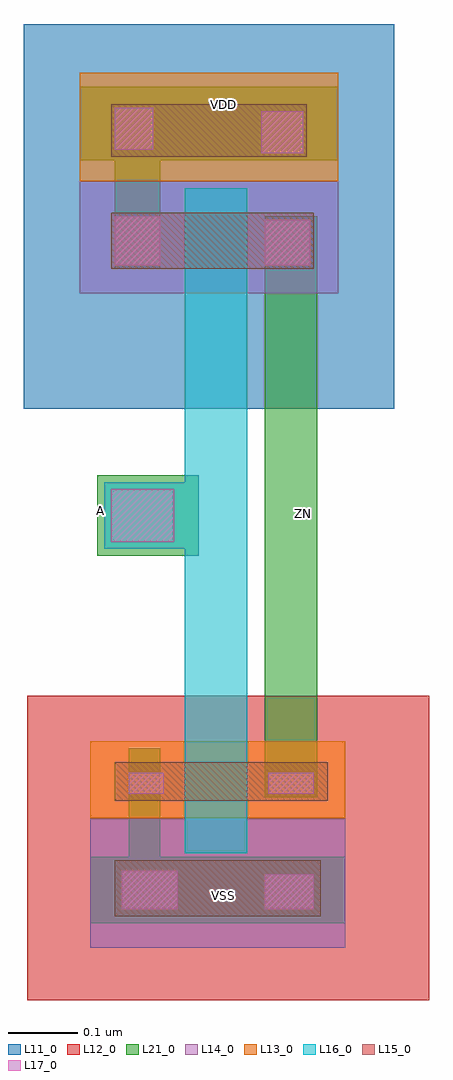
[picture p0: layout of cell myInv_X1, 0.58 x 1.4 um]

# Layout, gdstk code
import gdstk
lib = gdstk.Library(unit=1e-6, precision=1e-09)
def R(c, l, rs):  # rectangles x0, y0, x1, y1
    for r in rs: c.add(gdstk.rectangle(r[:2], r[2:], *l))
def P(c, l, *ps):  # polygons
    for p in ps: c.add(gdstk.Polygon(p, *l))
L11_0 = (11, 0)
L12_0 = (12, 0)
L13_0 = (13, 0)
L14_0 = (14, 0)
L15_0 = (15, 0)
L16_0 = (16, 0)
L17_0 = (17, 0)
L21_0 = (21, 0)

myinv_x1 = lib.new_cell('myInv_X1')
R(myinv_x1, L11_0, [(0.495,0.105,1.025,0.655)])
R(myinv_x1, L12_0, [(0.5,-0.74,1.075,-0.305)])
R(myinv_x1, L13_0, [(0.59,-0.48,0.955,-0.37), (0.575,0.43,0.945,0.585)])
R(myinv_x1, L14_0, [(0.59,-0.665,0.955,-0.48), (0.575,0.27,0.945,0.43)])
R(myinv_x1, L15_0, [(0.625,-0.62,0.92,-0.54), (0.625,-0.455,0.93,-0.4), (0.62,0.305,0.91,0.385), (0.62,0.465,0.9,0.54)])
P(myinv_x1, L16_0, [(0.815,0.42),(0.725,0.42),(0.725,0),(0.61,0),(0.61,-0.095),(0.725,-0.095),(0.725,-0.53),(0.815,-0.53)])
R(myinv_x1, L17_0, [(0.635,-0.61,0.715,-0.555), (0.84,-0.61,0.91,-0.56), (0.645,-0.445,0.695,-0.415), (0.845,-0.445,0.91,-0.415), (0.62,-0.085,0.71,-0.01), (0.625,0.31,0.69,0.38), (0.84,0.31,0.905,0.375), (0.835,0.47,0.895,0.53), (0.625,0.475,0.68,0.535)])
R(myinv_x1, L21_0, [(0.84,-0.45,0.915,0.38), (0.6,-0.105,0.745,0.01)])
P(myinv_x1, L21_0, [(0.945,0.565),(0.575,0.565),(0.575,0.46),(0.625,0.46),(0.625,0.305),(0.69,0.305),(0.69,0.46),(0.945,0.46)],
  [(0.955,-0.535),(0.69,-0.535),(0.69,-0.38),(0.645,-0.38),(0.645,-0.535),(0.59,-0.535),(0.59,-0.63),(0.955,-0.63)])
myinv_x1.add(gdstk.Label('VSS', (0.78,-0.59), layer=21, texttype=251))
myinv_x1.add(gdstk.Label('VDD', (0.78,0.54), layer=21, texttype=251))
myinv_x1.add(gdstk.Label('ZN', (0.895,-0.045), layer=21, texttype=251))
myinv_x1.add(gdstk.Label('A', (0.605,-0.04), layer=21, texttype=251))

lib.write_gds('myInv_X1.gds')
